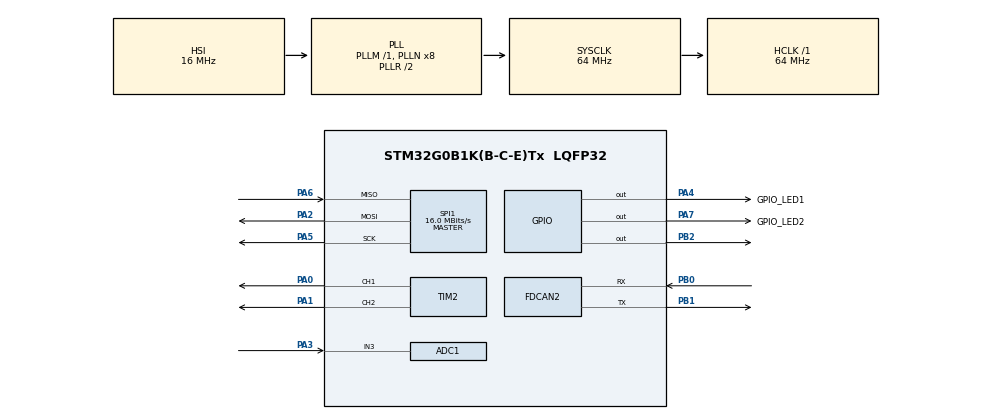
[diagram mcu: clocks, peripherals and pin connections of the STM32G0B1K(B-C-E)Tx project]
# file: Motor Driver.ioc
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ADC1.Channel-4\#ChannelRegularConversion=ADC_CHANNEL_3
ADC1.NbrOfConversionFlag=1
ADC1.Rank-4\#ChannelRegularConversion=1
ADC1.SamplingTime-4\#ChannelRegularConversion=ADC_SAMPLINGTIME_COMMON_1
ADC1.SelectedChannel=ADC_CHANNEL_3
ADC1.master=1
FDCAN2.CalculateBaudRateNominal=500000
FDCAN2.CalculateTimeBitNominal=2000
FDCAN2.CalculateTimeQuantumNominal=250.0
FDCAN2.NominalTimeSeg1=3
FDCAN2.NominalTimeSeg2=4
Mcu.Family=STM32G0
Mcu.Name=STM32G0B1K(B-C-E)Tx
Mcu.Package=LQFP32
NVIC.SPI1_IRQn=true\:0\:0\:false\:false\:true\:true\:true\:true
NVIC.TIM14_IRQn=true\:0\:0\:false\:false\:true\:true\:true\:true
PA0.Signal=S_TIM2_CH1_ETR
PA1.Signal=S_TIM2_CH2
PA13.Mode=Serial_Wire
PA13.Signal=SYS_SWDIO
PA14-BOOT0.Mode=Serial_Wire
PA14-BOOT0.Signal=SYS_SWCLK
PA2.Mode=Full_Duplex_Master
PA2.Signal=SPI1_MOSI
PA3.Mode=IN3
PA3.Signal=ADC1_IN3
PA4.GPIO_Label=GPIO_LED1
PA4.Signal=GPIO_Output
PA5.Mode=Full_Duplex_Master
PA5.Signal=SPI1_SCK
PA6.Mode=Full_Duplex_Master
PA6.Signal=SPI1_MISO
PA7.GPIO_Label=GPIO_LED2
PA7.Signal=GPIO_Output
PB0.GPIO_PuPd=GPIO_PULLUP
PB0.Mode=FDCAN_Activate
PB0.Signal=FDCAN2_RX
PB1.Mode=FDCAN_Activate
PB1.Signal=FDCAN2_TX
PB2.Signal=GPIO_Output
ProjectManager.HeapSize=0x200
ProjectManager.StackSize=0x400
ProjectManager.TargetToolchain=STM32CubeIDE
RCC.ADCFreq_Value=64000000
RCC.AHBFreq_Value=64000000
RCC.CortexFreq_Value=64000000
RCC.EXTERNAL_CLOCK_VALUE=48000
RCC.HCLKFreq_Value=64000000
RCC.HSE_VALUE=8000000
RCC.HSI48_VALUE=48000000
RCC.HSI_VALUE=16000000
RCC.LSE_VALUE=32768
RCC.SYSCLKFreq_VALUE=64000000
RCC.SYSCLKSource=RCC_SYSCLKSOURCE_PLLCLK
RCC.USBFreq_Value=48000000
RCC.VCOOutputFreq_Value=128000000
SH.S_TIM2_CH1_ETR.0=TIM2_CH1,PWM Generation1 CH1
SH.S_TIM2_CH2.0=TIM2_CH2,PWM Generation2 CH2
SPI1.BaudRatePrescaler=SPI_BAUDRATEPRESCALER_4
SPI1.CalculateBaudRate=16.0 MBits/s
SPI1.DataSize=SPI_DATASIZE_16BIT
SPI1.Direction=SPI_DIRECTION_2LINES
SPI1.Mode=SPI_MODE_MASTER
SPI1.VirtualType=VM_MASTER
TIM14.Period=64000 - 1
TIM16.Period=64000 - 1
TIM2.Channel-PWM\ Generation1\ CH1=TIM_CHANNEL_1
TIM2.Channel-PWM\ Generation2\ CH2=TIM_CHANNEL_2
VP_SYS_VS_DBSignals.Mode=DisableDeadBatterySignals
VP_TIM14_VS_ClockSourceINT.Mode=Enable_Timer
VP_TIM16_VS_ClockSourceINT.Mode=Enable_Timer
VP_TIM1_VS_ClockSourceINT.Mode=Internal
VP_TIM2_VS_ClockSourceINT.Mode=Internal
board=custom

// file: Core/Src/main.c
/* USER CODE BEGIN Header */
/* USER CODE END Header */
#include "main.h"

/* USER CODE BEGIN Includes */
#include "timers.h"
#include "motor_control.h"
#include "encoder.h"
#include "can.h"
#include "pid_controller.h"
/* USER CODE END Includes */

ADC_HandleTypeDef hadc1;

FDCAN_HandleTypeDef hfdcan2;

SPI_HandleTypeDef hspi1;

TIM_HandleTypeDef htim1;
TIM_HandleTypeDef htim2;
TIM_HandleTypeDef htim14;
TIM_HandleTypeDef htim16;

volatile uint8_t spi_rx_done = 0;
uint16_t targetAngle = 0;
uint16_t realAngle = 0;
PIDController pid;

void SystemClock_Config(void);
static void MX_GPIO_Init(void);
static void MX_SPI1_Init(void);
static void MX_FDCAN2_Init(void);
static void MX_TIM2_Init(void);
static void MX_ADC1_Init(void);
static void MX_TIM1_Init(void);
static void MX_TIM14_Init(void);
static void MX_TIM16_Init(void);

int main(void)
{

  /* USER CODE BEGIN 1 */

    // Assign values to the PID Controller
  pid.Kp = 1.0f;           // Proportional gain
  pid.Ki = 0.1f;           // Integral gain
  pid.Kd = 0.01f;          // Derivative gain
  pid.tau = 0.02f;         // Derivative filter time constant
  pid.limMin = -100.0f;     // Minimum output limit
  pid.limMax = 100.0f;      // Maximum output limit
  pid.T = 0.001f;            // Sample time (in seconds)

  /* USER CODE END 1 */

  /* MCU Configuration--------------------------------------------------------*/

  /* Reset of all peripherals, Initializes the Flash interface and the Systick. */
  HAL_Init();

  /* USER CODE BEGIN Init */
  CAN_INIT(0x123, FDCAN_DLC_BYTES_2);
  PIDController_Init(&pid);
  Motor_Init();
  TIMERS_Init();

  HAL_GPIO_WritePin(GPIOA, GPIO_PIN_7, GPIO_PIN_RESET); // LED 1 Off
  HAL_GPIO_WritePin(GPIOA, GPIO_PIN_4, GPIO_PIN_RESET); // LED 2 Off
  HAL_GPIO_WritePin(GPIOB, GPIO_PIN_2, GPIO_PIN_SET); // Mag CS High
  /* USER CODE END Init */

  /* Configure the system clock */
  SystemClock_Config();

  /* Initialize all configured peripherals */
  MX_GPIO_Init();
  MX_SPI1_Init();
  MX_FDCAN2_Init();
  MX_TIM2_Init();
  MX_ADC1_Init();
  MX_TIM1_Init();
  MX_TIM14_Init();
  MX_TIM16_Init();

  /* Infinite loop */
  /* USER CODE BEGIN WHILE */
  while (1){
	WATCHDOG_Reset();
	targetAngle = CAN_ProcessReceivedMessages();
  }
    /* USER CODE END WHILE */

}

void SystemClock_Config(void)
{
  RCC_OscInitTypeDef RCC_OscInitStruct = {0};
  RCC_ClkInitTypeDef RCC_ClkInitStruct = {0};

  /** Configure the main internal regulator output voltage
  */
  HAL_PWREx_ControlVoltageScaling(PWR_REGULATOR_VOLTAGE_SCALE1);

  /** Initializes the RCC Oscillators according to the specified parameters
  * in the RCC_OscInitTypeDef structure.
  */
  RCC_OscInitStruct.OscillatorType = RCC_OSCILLATORTYPE_HSI;
  RCC_OscInitStruct.HSIState = RCC_HSI_ON;
  RCC_OscInitStruct.HSIDiv = RCC_HSI_DIV1;
  RCC_OscInitStruct.HSICalibrationValue = RCC_HSICALIBRATION_DEFAULT;
  RCC_OscInitStruct.PLL.PLLState = RCC_PLL_ON;
  RCC_OscInitStruct.PLL.PLLSource = RCC_PLLSOURCE_HSI;
  RCC_OscInitStruct.PLL.PLLM = RCC_PLLM_DIV1;
  RCC_OscInitStruct.PLL.PLLN = 8;
  RCC_OscInitStruct.PLL.PLLP = RCC_PLLP_DIV2;
  RCC_OscInitStruct.PLL.PLLQ = RCC_PLLQ_DIV2;
  RCC_OscInitStruct.PLL.PLLR = RCC_PLLR_DIV2;
  if (HAL_RCC_OscConfig(&RCC_OscInitStruct) != HAL_OK)
  {
    Error_Handler();
  }

  /** Initializes the CPU, AHB and APB buses clocks
  */
  RCC_ClkInitStruct.ClockType = RCC_CLOCKTYPE_HCLK|RCC_CLOCKTYPE_SYSCLK
                              |RCC_CLOCKTYPE_PCLK1;
  RCC_ClkInitStruct.SYSCLKSource = RCC_SYSCLKSOURCE_PLLCLK;
  RCC_ClkInitStruct.AHBCLKDivider = RCC_SYSCLK_DIV1;
  RCC_ClkInitStruct.APB1CLKDivider = RCC_HCLK_DIV1;

  if (HAL_RCC_ClockConfig(&RCC_ClkInitStruct, FLASH_LATENCY_2) != HAL_OK)
  {
    Error_Handler();
  }
}

static void MX_ADC1_Init(void)
{

  ADC_ChannelConfTypeDef sConfig = {0};

  /** Configure the global features of the ADC (Clock, Resolution, Data Alignment and number of conversion)
  */
  hadc1.Instance = ADC1;
  hadc1.Init.ClockPrescaler = ADC_CLOCK_SYNC_PCLK_DIV2;
  hadc1.Init.Resolution = ADC_RESOLUTION_12B;
  hadc1.Init.DataAlign = ADC_DATAALIGN_RIGHT;
  hadc1.Init.ScanConvMode = ADC_SCAN_DISABLE;
  hadc1.Init.EOCSelection = ADC_EOC_SINGLE_CONV;
  hadc1.Init.LowPowerAutoWait = DISABLE;
  hadc1.Init.LowPowerAutoPowerOff = DISABLE;
  hadc1.Init.ContinuousConvMode = DISABLE;
  hadc1.Init.NbrOfConversion = 1;
  hadc1.Init.DiscontinuousConvMode = DISABLE;
  hadc1.Init.ExternalTrigConv = ADC_SOFTWARE_START;
  hadc1.Init.ExternalTrigConvEdge = ADC_EXTERNALTRIGCONVEDGE_NONE;
  hadc1.Init.DMAContinuousRequests = DISABLE;
  hadc1.Init.Overrun = ADC_OVR_DATA_PRESERVED;
  hadc1.Init.SamplingTimeCommon1 = ADC_SAMPLETIME_1CYCLE_5;
  hadc1.Init.SamplingTimeCommon2 = ADC_SAMPLETIME_1CYCLE_5;
  hadc1.Init.OversamplingMode = DISABLE;
  hadc1.Init.TriggerFrequencyMode = ADC_TRIGGER_FREQ_HIGH;
  if (HAL_ADC_Init(&hadc1) != HAL_OK)
  {
    Error_Handler();
  }

  /** Configure Regular Channel
  */
  sConfig.Channel = ADC_CHANNEL_3;
  sConfig.Rank = ADC_REGULAR_RANK_1;
  sConfig.SamplingTime = ADC_SAMPLINGTIME_COMMON_1;
  if (HAL_ADC_ConfigChannel(&hadc1, &sConfig) != HAL_OK)
  {
    Error_Handler();
  }

}

static void MX_FDCAN2_Init(void)
{

  hfdcan2.Instance = FDCAN2;
  hfdcan2.Init.ClockDivider = FDCAN_CLOCK_DIV1;
  hfdcan2.Init.FrameFormat = FDCAN_FRAME_CLASSIC;
  hfdcan2.Init.Mode = FDCAN_MODE_NORMAL;
  hfdcan2.Init.AutoRetransmission = DISABLE;
  hfdcan2.Init.TransmitPause = DISABLE;
  hfdcan2.Init.ProtocolException = DISABLE;
  hfdcan2.Init.NominalPrescaler = 16;
  hfdcan2.Init.NominalSyncJumpWidth = 1;
  hfdcan2.Init.NominalTimeSeg1 = 3;
  hfdcan2.Init.NominalTimeSeg2 = 4;
  hfdcan2.Init.DataPrescaler = 1;
  hfdcan2.Init.DataSyncJumpWidth = 1;
  hfdcan2.Init.DataTimeSeg1 = 1;
  hfdcan2.Init.DataTimeSeg2 = 1;
  hfdcan2.Init.StdFiltersNbr = 0;
  hfdcan2.Init.ExtFiltersNbr = 0;
  hfdcan2.Init.TxFifoQueueMode = FDCAN_TX_FIFO_OPERATION;
  if (HAL_FDCAN_Init(&hfdcan2) != HAL_OK)
  {
    Error_Handler();
  }

}

static void MX_SPI1_Init(void)
{

  /* SPI1 parameter configuration*/
  hspi1.Instance = SPI1;
  hspi1.Init.Mode = SPI_MODE_MASTER;
  hspi1.Init.Direction = SPI_DIRECTION_2LINES;
  hspi1.Init.DataSize = SPI_DATASIZE_16BIT;
  hspi1.Init.CLKPolarity = SPI_POLARITY_LOW;
  hspi1.Init.CLKPhase = SPI_PHASE_1EDGE;
  hspi1.Init.NSS = SPI_NSS_SOFT;
  hspi1.Init.BaudRatePrescaler = SPI_BAUDRATEPRESCALER_4;
  hspi1.Init.FirstBit = SPI_FIRSTBIT_MSB;
  hspi1.Init.TIMode = SPI_TIMODE_DISABLE;
  hspi1.Init.CRCCalculation = SPI_CRCCALCULATION_DISABLE;
  hspi1.Init.CRCPolynomial = 7;
  hspi1.Init.CRCLength = SPI_CRC_LENGTH_DATASIZE;
  hspi1.Init.NSSPMode = SPI_NSS_PULSE_ENABLE;
  if (HAL_SPI_Init(&hspi1) != HAL_OK)
  {
    Error_Handler();
  }

}

static void MX_TIM1_Init(void)
{

  TIM_ClockConfigTypeDef sClockSourceConfig = {0};
  TIM_MasterConfigTypeDef sMasterConfig = {0};

  htim1.Instance = TIM1;
  htim1.Init.Prescaler = 0;
  htim1.Init.CounterMode = TIM_COUNTERMODE_UP;
  htim1.Init.Period = 65535;
  htim1.Init.ClockDivision = TIM_CLOCKDIVISION_DIV1;
  htim1.Init.RepetitionCounter = 0;
  htim1.Init.AutoReloadPreload = TIM_AUTORELOAD_PRELOAD_DISABLE;
  if (HAL_TIM_Base_Init(&htim1) != HAL_OK)
  {
    Error_Handler();
  }
  sClockSourceConfig.ClockSource = TIM_CLOCKSOURCE_INTERNAL;
  if (HAL_TIM_ConfigClockSource(&htim1, &sClockSourceConfig) != HAL_OK)
  {
    Error_Handler();
  }
  sMasterConfig.MasterOutputTrigger = TIM_TRGO_RESET;
  sMasterConfig.MasterOutputTrigger2 = TIM_TRGO2_RESET;
  sMasterConfig.MasterSlaveMode = TIM_MASTERSLAVEMODE_DISABLE;
  if (HAL_TIMEx_MasterConfigSynchronization(&htim1, &sMasterConfig) != HAL_OK)
  {
    Error_Handler();
  }

}

static void MX_TIM2_Init(void)
{

  TIM_ClockConfigTypeDef sClockSourceConfig = {0};
  TIM_MasterConfigTypeDef sMasterConfig = {0};
  TIM_OC_InitTypeDef sConfigOC = {0};

  htim2.Instance = TIM2;
  htim2.Init.Prescaler = 0;
  htim2.Init.CounterMode = TIM_COUNTERMODE_UP;
  htim2.Init.Period = 4294967295;
  htim2.Init.ClockDivision = TIM_CLOCKDIVISION_DIV1;
  htim2.Init.AutoReloadPreload = TIM_AUTORELOAD_PRELOAD_DISABLE;
  htim2.Instance->ARR = 319;  // For 64MHz clock: (64MHz / 200kHz) - 1 = 319
  if (HAL_TIM_Base_Init(&htim2) != HAL_OK)
  {
    Error_Handler();
  }
  sClockSourceConfig.ClockSource = TIM_CLOCKSOURCE_INTERNAL;
  if (HAL_TIM_ConfigClockSource(&htim2, &sClockSourceConfig) != HAL_OK)
  {
    Error_Handler();
  }
  if (HAL_TIM_PWM_Init(&htim2) != HAL_OK)
  {
    Error_Handler();
  }
  sMasterConfig.MasterOutputTrigger = TIM_TRGO_RESET;
  sMasterConfig.MasterSlaveMode = TIM_MASTERSLAVEMODE_DISABLE;
  if (HAL_TIMEx_MasterConfigSynchronization(&htim2, &sMasterConfig) != HAL_OK)
  {
    Error_Handler();
  }
  sConfigOC.OCMode = TIM_OCMODE_PWM1;
  sConfigOC.Pulse = 0;
  sConfigOC.OCPolarity = TIM_OCPOLARITY_HIGH;
  sConfigOC.OCFastMode = TIM_OCFAST_DISABLE;
  if (HAL_TIM_PWM_ConfigChannel(&htim2, &sConfigOC, TIM_CHANNEL_1) != HAL_OK)
  {
    Error_Handler();
  }
  if (HAL_TIM_PWM_ConfigChannel(&htim2, &sConfigOC, TIM_CHANNEL_2) != HAL_OK)
  {
    Error_Handler();
  }
  HAL_TIM_MspPostInit(&htim2);

}

static void MX_TIM14_Init(void)
{

  htim14.Instance = TIM14;
  htim14.Init.Prescaler = 0;
  htim14.Init.CounterMode = TIM_COUNTERMODE_UP;
  htim14.Init.Period = 64000 - 1;
  htim14.Init.ClockDivision = TIM_CLOCKDIVISION_DIV1;
  htim14.Init.AutoReloadPreload = TIM_AUTORELOAD_PRELOAD_DISABLE;
  if (HAL_TIM_Base_Init(&htim14) != HAL_OK)
  {
    Error_Handler();
  }

}

static void MX_TIM16_Init(void)
{

  htim16.Instance = TIM16;
  htim16.Init.Prescaler = 0;
  htim16.Init.CounterMode = TIM_COUNTERMODE_UP;
  htim16.Init.Period = 64000 - 1;
  htim16.Init.ClockDivision = TIM_CLOCKDIVISION_DIV1;
  htim16.Init.RepetitionCounter = 0;
  htim16.Init.AutoReloadPreload = TIM_AUTORELOAD_PRELOAD_DISABLE;
  if (HAL_TIM_Base_Init(&htim16) != HAL_OK)
  {
    Error_Handler();
  }

}

static void MX_GPIO_Init(void)
{
  GPIO_InitTypeDef GPIO_InitStruct = {0};

  /* GPIO Ports Clock Enable */
  __HAL_RCC_GPIOA_CLK_ENABLE();
  __HAL_RCC_GPIOB_CLK_ENABLE();

  /*Configure GPIO pin Output Level */
  HAL_GPIO_WritePin(GPIOA, GPIO_LED1_Pin|GPIO_LED2_Pin, GPIO_PIN_RESET);

  /*Configure GPIO pin Output Level */
  HAL_GPIO_WritePin(GPIOB, GPIO_PIN_2, GPIO_PIN_RESET);

  /*Configure GPIO pins : GPIO_LED1_Pin GPIO_LED2_Pin */
  GPIO_InitStruct.Pin = GPIO_LED1_Pin|GPIO_LED2_Pin;
  GPIO_InitStruct.Mode = GPIO_MODE_OUTPUT_PP;
  GPIO_InitStruct.Pull = GPIO_NOPULL;
  GPIO_InitStruct.Speed = GPIO_SPEED_FREQ_LOW;
  HAL_GPIO_Init(GPIOA, &GPIO_InitStruct);

  /*Configure GPIO pin : PB2 */
  GPIO_InitStruct.Pin = GPIO_PIN_2;
  GPIO_InitStruct.Mode = GPIO_MODE_OUTPUT_PP;
  GPIO_InitStruct.Pull = GPIO_NOPULL;
  GPIO_InitStruct.Speed = GPIO_SPEED_FREQ_LOW;
  HAL_GPIO_Init(GPIOB, &GPIO_InitStruct);

}

/* USER CODE BEGIN 4 */
// Interrupt Callbacks

// SPI Interrupt callback
void HAL_SPI_RxCpltCallback(SPI_HandleTypeDef *hspi) {
    if (hspi->Instance == SPI1) { // Check if the interrupt is from SPI1
        spi_rx_done = 1; // Set the flag when data is received
        PIDController_Update(&pid, targetAngle, realAngle);
        Motor_SetDrivingValue(pid.out);
    }
}

/* USER CODE END 4 */

void Error_Handler(void)
{
}
